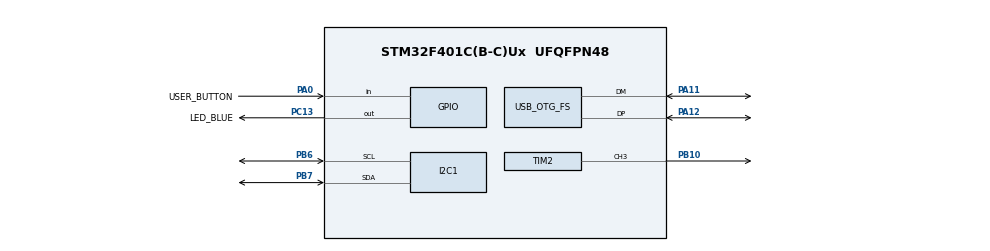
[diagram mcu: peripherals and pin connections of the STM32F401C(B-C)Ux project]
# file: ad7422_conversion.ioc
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Mcu.Family=STM32F4
Mcu.Name=STM32F401C(B-C)Ux
Mcu.Package=UFQFPN48
NVIC.OTG_FS_IRQn=true\:0\:0\:false\:false\:true\:false\:true\:true
NVIC.PriorityGroup=NVIC_PRIORITYGROUP_4
NVIC.TIM1_TRG_COM_TIM11_IRQn=true\:0\:0\:false\:false\:true\:true\:true\:true
NVIC.TIM1_UP_TIM10_IRQn=true\:0\:0\:false\:false\:true\:true\:true\:true
PA0-WKUP.GPIO_Label=USER_BUTTON
PA0-WKUP.GPIO_PuPd=GPIO_PULLUP
PA0-WKUP.Signal=GPIO_Input
PA11.Mode=Device_Only
PA11.Signal=USB_OTG_FS_DM
PA12.Mode=Device_Only
PA12.Signal=USB_OTG_FS_DP
PA13.Mode=Serial_Wire
PA13.Signal=SYS_JTMS-SWDIO
PA14.Mode=Serial_Wire
PA14.Signal=SYS_JTCK-SWCLK
PB10.Signal=S_TIM2_CH3
PB6.Mode=I2C
PB6.Signal=I2C1_SCL
PB7.Mode=I2C
PB7.Signal=I2C1_SDA
PC13-ANTI_TAMP.GPIO_Label=LED_BLUE
PC13-ANTI_TAMP.Signal=GPIO_Output
PH0\ -\ OSC_IN.Mode=HSE-External-Oscillator
PH0\ -\ OSC_IN.Signal=RCC_OSC_IN
PH1\ -\ OSC_OUT.Mode=HSE-External-Oscillator
PH1\ -\ OSC_OUT.Signal=RCC_OSC_OUT
ProjectManager.HeapSize=0x200
ProjectManager.StackSize=0x400
ProjectManager.TargetToolchain=Makefile
RCC.48MHZClocksFreq_Value=48000000
RCC.AHBFreq_Value=25000000
RCC.APB1Freq_Value=25000000
RCC.APB1TimFreq_Value=25000000
RCC.APB2Freq_Value=25000000
RCC.APB2TimFreq_Value=25000000
RCC.CortexFreq_Value=25000000
RCC.HCLKFreq_Value=25000000
RCC.HSE_VALUE=25000000
RCC.HSI_VALUE=16000000
RCC.LSE_VALUE=32768
RCC.PLLM=15
RCC.PLLN=144
RCC.PLLQ=5
RCC.SYSCLKFreq_VALUE=25000000
RCC.SYSCLKSource=RCC_SYSCLKSOURCE_HSE
RCC.VCOOutputFreq_Value=240000000
SH.S_TIM2_CH3.0=TIM2_CH3,PWM Generation3 CH3
TIM2.AutoReloadPreload=TIM_AUTORELOAD_PRELOAD_ENABLE
TIM2.Channel-PWM\ Generation3\ CH3=TIM_CHANNEL_3
TIM2.Period=2499999
TIM2.Prescaler=0
TIM2.Pulse-PWM\ Generation3\ CH3=1200000
USB_DEVICE.CLASS_NAME_FS=CDC
USB_DEVICE.VirtualMode=Cdc
USB_DEVICE.VirtualModeFS=Cdc_FS
USB_OTG_FS.VirtualMode=Device_Only
VP_TIM10_VS_ClockSourceINT.Mode=Enable_Timer
VP_TIM11_VS_ClockSourceINT.Mode=Enable_Timer
VP_TIM2_VS_ClockSourceINT.Mode=Internal
VP_USB_DEVICE_VS_USB_DEVICE_CDC_FS.Mode=CDC_FS
board=custom

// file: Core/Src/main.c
/* USER CODE BEGIN Header */
/**
  ******************************************************************************
  * @file           : main.c
  * @brief          : Main program body
  ******************************************************************************
  * @attention
  *
  * Copyright (c) 2024 STMicroelectronics.
  * All rights reserved.
  *
  * This software is licensed under terms that can be found in the LICENSE file
  * in the root directory of this software component.
  * If no LICENSE file comes with this software, it is provided AS-IS.
  *
  ******************************************************************************
  */
/* USER CODE END Header */
#include "main.h"
#include "usb_device.h"

/* USER CODE BEGIN Includes */
#include "adt7422.h"
#include "calibration.h"
#include "usbd_cdc_if.h"
/* USER CODE END Includes */

I2C_HandleTypeDef hi2c1;

void SystemClock_Config(void);
static void MX_GPIO_Init(void);
static void MX_I2C1_Init(void);
static void MX_TIM10_Init(void);
static void MX_TIM11_Init(void);
static void MX_TIM2_Init(void);

/* USER CODE BEGIN 0 */
ADT74X0 temp_sensor;
/* USER CODE END 0 */

int main(void)
{
  /* USER CODE BEGIN 1 */
  uint8_t buff[8] = {0};
  uint16_t current_temp;
  /* USER CODE END 1 */

  /* MCU Configuration--------------------------------------------------------*/

  /* Reset of all peripherals, Initializes the Flash interface and the Systick. */
  HAL_Init();

  /* Configure the system clock */
  SystemClock_Config();

  /* Initialize all configured peripherals */
  MX_GPIO_Init();
  MX_I2C1_Init();
  MX_TIM10_Init();
  MX_TIM11_Init();
  MX_USB_DEVICE_Init();
  MX_TIM2_Init();
  /* USER CODE BEGIN 2 */
  temp_sensor.adti2c = &hi2c1; // Your I2C Handler
  ADT74x0_Init(&temp_sensor, ADT74X0_DEVICE_ADDR); // I2C address depends of A0 and A1 pins
	ADT74x0_Reset(&temp_sensor); // Optional
	ADT74x0_SetResolution(&temp_sensor, ADT74X0_16BITS); // Put the device in 16 bits resolution

  HAL_Delay(100);

  if((USER_BUTTON_GPIO_Port->IDR & USER_BUTTON_Pin)) //invert this check after finishing debugging!
  {
    HAL_Delay(100);
    if((USER_BUTTON_GPIO_Port->IDR & USER_BUTTON_Pin))//invert this check after finishing debugging!
    {
      run_calibration();
    }
  }
  /* USER CODE END 2 */

  /* Infinite loop */
  while (1)
  {

    /* USER CODE BEGIN 3 */
    if(ADT74x0_Ready((ADT74X0 *)&temp_sensor))
    {
      if (ADT74x0_ReadTemp(&temp_sensor) != HAL_OK) {
	      Error_Handler();
	    }
      current_temp = temp_sensor.raw_data;
      buff[0] = (current_temp>>8)&0xFF;
      buff[1] = current_temp & 0xFF;
      buff[2] = CRC8((uint8_t *)&buff,2); //checksum calculation
      buff[3] = '\r';
      CDC_Transmit_FS((uint8_t *)&buff,4);
    }

    HAL_Delay(1000);
  }
  /* USER CODE END 3 */
}

void SystemClock_Config(void)
{
  LL_FLASH_SetLatency(LL_FLASH_LATENCY_0);
  while(LL_FLASH_GetLatency()!= LL_FLASH_LATENCY_0)
  {
  }
  LL_PWR_SetRegulVoltageScaling(LL_PWR_REGU_VOLTAGE_SCALE2);
  LL_RCC_HSE_Enable();

   /* Wait till HSE is ready */
  while(LL_RCC_HSE_IsReady() != 1)
  {

  }
  LL_RCC_PLL_ConfigDomain_48M(LL_RCC_PLLSOURCE_HSE, LL_RCC_PLLM_DIV_15, 144, LL_RCC_PLLQ_DIV_5);
  LL_RCC_PLL_Enable();

   /* Wait till PLL is ready */
  while(LL_RCC_PLL_IsReady() != 1)
  {

  }
  while (LL_PWR_IsActiveFlag_VOS() == 0)
  {
  }
  LL_RCC_SetAHBPrescaler(LL_RCC_SYSCLK_DIV_1);
  LL_RCC_SetAPB1Prescaler(LL_RCC_APB1_DIV_1);
  LL_RCC_SetAPB2Prescaler(LL_RCC_APB2_DIV_1);
  LL_RCC_SetSysClkSource(LL_RCC_SYS_CLKSOURCE_HSE);

   /* Wait till System clock is ready */
  while(LL_RCC_GetSysClkSource() != LL_RCC_SYS_CLKSOURCE_STATUS_HSE)
  {

  }
  LL_SetSystemCoreClock(25000000);

   /* Update the time base */
  if (HAL_InitTick (TICK_INT_PRIORITY) != HAL_OK)
  {
    Error_Handler();
  }
  LL_RCC_SetTIMPrescaler(LL_RCC_TIM_PRESCALER_TWICE);
}

static void MX_I2C1_Init(void)
{

  hi2c1.Instance = I2C1;
  hi2c1.Init.ClockSpeed = 100000;
  hi2c1.Init.DutyCycle = I2C_DUTYCYCLE_2;
  hi2c1.Init.OwnAddress1 = 0;
  hi2c1.Init.AddressingMode = I2C_ADDRESSINGMODE_7BIT;
  hi2c1.Init.DualAddressMode = I2C_DUALADDRESS_DISABLE;
  hi2c1.Init.OwnAddress2 = 0;
  hi2c1.Init.GeneralCallMode = I2C_GENERALCALL_DISABLE;
  hi2c1.Init.NoStretchMode = I2C_NOSTRETCH_DISABLE;
  if (HAL_I2C_Init(&hi2c1) != HAL_OK)
  {
    Error_Handler();
  }

}

static void MX_TIM2_Init(void)
{

  LL_TIM_InitTypeDef TIM_InitStruct = {0};
  LL_TIM_OC_InitTypeDef TIM_OC_InitStruct = {0};

  LL_GPIO_InitTypeDef GPIO_InitStruct = {0};

  /* Peripheral clock enable */
  LL_APB1_GRP1_EnableClock(LL_APB1_GRP1_PERIPH_TIM2);

  TIM_InitStruct.Prescaler = 0;
  TIM_InitStruct.CounterMode = LL_TIM_COUNTERMODE_UP;
  TIM_InitStruct.Autoreload = 2499999;
  TIM_InitStruct.ClockDivision = LL_TIM_CLOCKDIVISION_DIV1;
  LL_TIM_Init(TIM2, &TIM_InitStruct);
  LL_TIM_EnableARRPreload(TIM2);
  LL_TIM_SetClockSource(TIM2, LL_TIM_CLOCKSOURCE_INTERNAL);
  LL_TIM_OC_EnablePreload(TIM2, LL_TIM_CHANNEL_CH3);
  TIM_OC_InitStruct.OCMode = LL_TIM_OCMODE_PWM1;
  TIM_OC_InitStruct.OCState = LL_TIM_OCSTATE_DISABLE;
  TIM_OC_InitStruct.OCNState = LL_TIM_OCSTATE_DISABLE;
  TIM_OC_InitStruct.CompareValue = 1200000;
  TIM_OC_InitStruct.OCPolarity = LL_TIM_OCPOLARITY_HIGH;
  LL_TIM_OC_Init(TIM2, LL_TIM_CHANNEL_CH3, &TIM_OC_InitStruct);
  LL_TIM_OC_DisableFast(TIM2, LL_TIM_CHANNEL_CH3);
  LL_TIM_SetTriggerOutput(TIM2, LL_TIM_TRGO_RESET);
  LL_TIM_DisableMasterSlaveMode(TIM2);
  LL_AHB1_GRP1_EnableClock(LL_AHB1_GRP1_PERIPH_GPIOB);
  /**TIM2 GPIO Configuration
  PB10   ------> TIM2_CH3
  */
  GPIO_InitStruct.Pin = LL_GPIO_PIN_10;
  GPIO_InitStruct.Mode = LL_GPIO_MODE_ALTERNATE;
  GPIO_InitStruct.Speed = LL_GPIO_SPEED_FREQ_LOW;
  GPIO_InitStruct.OutputType = LL_GPIO_OUTPUT_PUSHPULL;
  GPIO_InitStruct.Pull = LL_GPIO_PULL_NO;
  GPIO_InitStruct.Alternate = LL_GPIO_AF_1;
  LL_GPIO_Init(GPIOB, &GPIO_InitStruct);

}

static void MX_TIM10_Init(void)
{

  LL_TIM_InitTypeDef TIM_InitStruct = {0};

  /* Peripheral clock enable */
  LL_APB2_GRP1_EnableClock(LL_APB2_GRP1_PERIPH_TIM10);

  /* TIM10 interrupt Init */
  NVIC_SetPriority(TIM1_UP_TIM10_IRQn, NVIC_EncodePriority(NVIC_GetPriorityGrouping(),0, 0));
  NVIC_EnableIRQ(TIM1_UP_TIM10_IRQn);

  TIM_InitStruct.Prescaler = 0;
  TIM_InitStruct.CounterMode = LL_TIM_COUNTERMODE_UP;
  TIM_InitStruct.Autoreload = 65535;
  TIM_InitStruct.ClockDivision = LL_TIM_CLOCKDIVISION_DIV1;
  LL_TIM_Init(TIM10, &TIM_InitStruct);
  LL_TIM_DisableARRPreload(TIM10);

}

static void MX_TIM11_Init(void)
{

  LL_TIM_InitTypeDef TIM_InitStruct = {0};

  /* Peripheral clock enable */
  LL_APB2_GRP1_EnableClock(LL_APB2_GRP1_PERIPH_TIM11);

  /* TIM11 interrupt Init */
  NVIC_SetPriority(TIM1_TRG_COM_TIM11_IRQn, NVIC_EncodePriority(NVIC_GetPriorityGrouping(),0, 0));
  NVIC_EnableIRQ(TIM1_TRG_COM_TIM11_IRQn);

  TIM_InitStruct.Prescaler = 0;
  TIM_InitStruct.CounterMode = LL_TIM_COUNTERMODE_UP;
  TIM_InitStruct.Autoreload = 65535;
  TIM_InitStruct.ClockDivision = LL_TIM_CLOCKDIVISION_DIV1;
  LL_TIM_Init(TIM11, &TIM_InitStruct);
  LL_TIM_DisableARRPreload(TIM11);

}

static void MX_GPIO_Init(void)
{
  LL_GPIO_InitTypeDef GPIO_InitStruct = {0};

  /* GPIO Ports Clock Enable */
  LL_AHB1_GRP1_EnableClock(LL_AHB1_GRP1_PERIPH_GPIOC);
  LL_AHB1_GRP1_EnableClock(LL_AHB1_GRP1_PERIPH_GPIOH);
  LL_AHB1_GRP1_EnableClock(LL_AHB1_GRP1_PERIPH_GPIOA);
  LL_AHB1_GRP1_EnableClock(LL_AHB1_GRP1_PERIPH_GPIOB);

  /**/
  LL_GPIO_ResetOutputPin(LED_BLUE_GPIO_Port, LED_BLUE_Pin);

  /**/
  GPIO_InitStruct.Pin = LED_BLUE_Pin;
  GPIO_InitStruct.Mode = LL_GPIO_MODE_OUTPUT;
  GPIO_InitStruct.Speed = LL_GPIO_SPEED_FREQ_LOW;
  GPIO_InitStruct.OutputType = LL_GPIO_OUTPUT_PUSHPULL;
  GPIO_InitStruct.Pull = LL_GPIO_PULL_NO;
  LL_GPIO_Init(LED_BLUE_GPIO_Port, &GPIO_InitStruct);

  /**/
  GPIO_InitStruct.Pin = USER_BUTTON_Pin;
  GPIO_InitStruct.Mode = LL_GPIO_MODE_INPUT;
  GPIO_InitStruct.Pull = LL_GPIO_PULL_UP;
  LL_GPIO_Init(USER_BUTTON_GPIO_Port, &GPIO_InitStruct);

}

void Error_Handler(void)
{
  __disable_irq();
  while (1)
  {
  }
}
